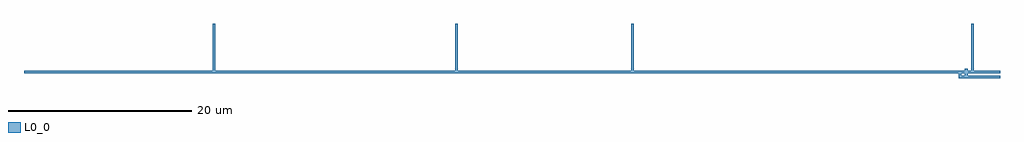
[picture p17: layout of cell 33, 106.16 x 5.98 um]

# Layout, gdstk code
import gdstk
lib = gdstk.Library(unit=1e-6, precision=1e-09)
def P(c, l, *ps):  # polygons
    for p in ps: c.add(gdstk.Polygon(p, *l))
L0_0 = (0, 0)

c_33 = lib.new_cell('33')
P(c_33, L0_0, [(1304.3,769.86),(1304.68,769.86),(1304.68,769.58),(1304.3,769.58),(1304.3,769.86)],
  [(1390,769.605),(1304.375,769.605),(1304.375,769.835),(1390,769.835),(1390,769.605)],
  [(1386.8,769.86),(1387.18,769.86),(1387.18,769.58),(1386.8,769.58),(1386.8,769.86)],
  [(1387.13,775),(1387.13,769.58),(1386.85,769.58),(1386.85,775),(1387.13,775)],
  [(1330.7,769.86),(1331.08,769.86),(1331.08,769.58),(1330.7,769.58),(1330.7,769.86)],
  [(1331.03,775),(1331.03,769.58),(1330.75,769.58),(1330.75,775),(1331.03,775)],
  [(1304.3,769.86),(1304.68,769.86),(1304.68,769.58),(1304.3,769.58),(1304.3,769.86)],
  [(1304.63,775),(1304.63,769.58),(1304.35,769.58),(1304.35,775),(1304.63,775)],
  [(1330.7,769.86),(1331.08,769.86),(1331.08,769.58),(1330.7,769.58),(1330.7,769.86)],
  [(1283.84,769.86),(1284.22,769.86),(1284.22,769.58),(1283.84,769.58),(1283.84,769.86)],
  [(1283.89,769.86),(1331.03,769.86),(1331.03,769.58),(1283.89,769.58),(1283.89,769.86)],
  [(1386.14,769.86),(1386.52,769.86),(1386.52,769.58),(1386.14,769.58),(1386.14,769.86)],
  [(1386.8,769.86),(1387.18,769.86),(1387.18,769.58),(1386.8,769.58),(1386.8,769.86)],
  [(1386.19,769.86),(1387.13,769.86),(1387.13,769.58),(1386.19,769.58),(1386.19,769.86)],
  [(1349.89,769.86),(1385.81,769.86),(1385.81,769.58),(1349.89,769.58),(1349.89,769.86)],
  [(1349.84,769.86),(1350.22,769.86),(1350.22,769.58),(1349.84,769.58),(1349.84,769.86)],
  [(1390,769.02),(1385.53,769.02),(1385.53,769.3),(1390,769.3),(1390,769.02)],
  [(1385.53,769.02),(1385.53,769.86),(1385.81,769.86),(1385.81,769.02),(1385.53,769.02)],
  [(1349.89,769.86),(1385.81,769.86),(1385.81,769.58),(1349.89,769.58),(1349.89,769.86)],
  [(1385.53,769.02),(1385.53,769.86),(1385.81,769.86),(1385.81,769.02),(1385.53,769.02)],
  [(1349.89,769.86),(1385.81,769.86),(1385.81,769.58),(1349.89,769.58),(1349.89,769.86)],
  [(1349.84,769.86),(1350.22,769.86),(1350.22,769.58),(1349.84,769.58),(1349.84,769.86)],
  [(1350.17,775),(1350.17,769.58),(1349.89,769.58),(1349.89,775),(1350.17,775)],
  [(1349.84,769.86),(1350.22,769.86),(1350.22,769.58),(1349.84,769.58),(1349.84,769.86)],
  [(1386.14,769.86),(1386.52,769.86),(1386.52,769.58),(1386.14,769.58),(1386.14,769.86)],
  [(1386.19,770.09),(1386.47,770.09),(1386.47,769.35),(1386.19,769.35),(1386.19,770.09)],
  [(1296.38,769.86),(1296.76,769.86),(1296.76,769.58),(1296.38,769.58),(1296.38,769.86)],
  [(1386.14,769.86),(1386.52,769.86),(1386.52,769.58),(1386.14,769.58),(1386.14,769.86)],
  [(1296.43,769.86),(1386.47,769.86),(1386.47,769.58),(1296.43,769.58),(1296.43,769.86)])

lib.write_gds('33.gds')
